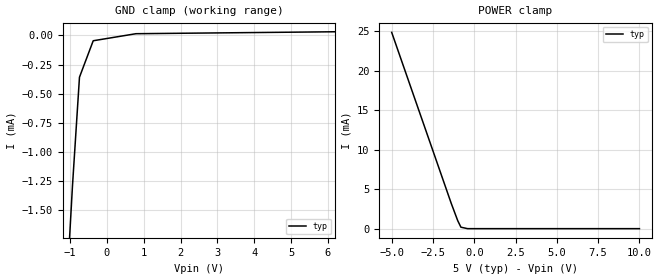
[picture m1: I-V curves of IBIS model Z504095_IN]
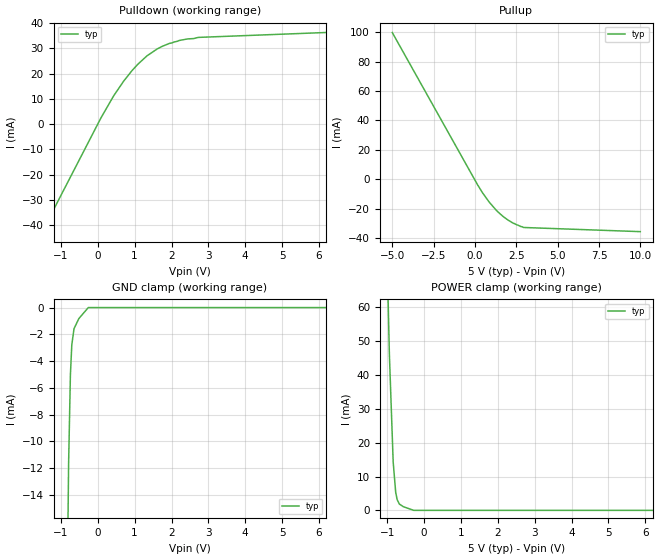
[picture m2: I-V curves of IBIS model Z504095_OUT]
| YOU ARE ONLY AUTHORIZED TO USE THIS SOFTWARE
| ACCORDING TO LICENSOR'S LICENSE RESTRICTIONS.
[IBIS Ver] 3.1
[File Name] mc54hc390j.ibs
[File Rev] 2.0
[Source] Measured and created by ICX Technology
[Date] Friday 7/14/00 9:08:06 AM
[Copyright]
| (C) COPYRIGHT 1993-2000
| MENTOR GRAPHICS CORPORATION
| ICX STANDARD LIBRARY, ICX PROJECT MODELING,
| ICX CUSTOM MODELING, ICX VENDOR MODEL
| ALL RIGHTS RESERVED.
| THE FOLLOWING ARE TRADEMARKS OR SERVICE MARKS OF
| MENTOR GRAPHICS CORPORATION:ICX (R), ICX STANDARD
| LIBRARY(R), ICX PROJECT MODELING(R), ICX CUSTOM
| MODELING(R), qualityIBIS(TM), MODELVIEWER(TM),
| AND MODELEDITOR(TM)
| ALL COPIES OF SOFTWARE, INCLUDING BUT NOT LIMITED TO
| ANY MODIFICATIONS, ENHANCEMENTS OR DERIVATIVE WORKS,
| MUST CONTAIN ALL MENTOR GRAPHICS CORPORATION'S
| NOTICES AND LEGENDS, INCLUDING THOSE EMBEDDED IN
| SOFTWARE AND THOSE AFFIXED TO SOFTWARE MEDIUM
| AND CONTAINER, AS RECEIVED FROM MENTOR GRAPHICS
| CORPORATION.
|  ZAP Model Builder 2.7
[Component] MC54HC390J
[Manufacturer] OnSemiconductor
[Package]
| variable   typ   min   max
R_pkg  .212ohms NA NA
L_pkg  4.758nH NA NA
C_pkg  1.944pF NA NA
[Pin] signal_name  model_name  R_pin  L_pin C_pin
1 _CLKA Z504095_IN .224 7.258n 2.683p
2 CLR Z504095_IN .216 5.258n 2.19p
3 QA Z504095_OUT .208 3.758n 1.697p
4 _CLKB Z504095_IN .2 2.758n 1.204p
5 QB Z504095_OUT .2 2.758n 1.204p
6 QC Z504095_OUT .208 3.758n 1.697p
7 QD Z504095_OUT .216 5.258n 2.19p
8 GND GND .224 7.258n 2.683p
9 QD Z504095_OUT .224 7.258n 2.683p
10 QC Z504095_OUT .216 5.258n 2.19p
11 QB Z504095_OUT .208 3.758n 1.697p
12 _CLKB Z504095_IN .2 2.758n 1.204p
13 QA Z504095_OUT .2 2.758n 1.204p
14 CLR Z504095_IN .208 3.758n 1.697p
15 _CLKA Z504095_IN .216 5.258n 2.19p
16 VCC POWER .224 7.258n 2.683p
| Models and submodels in the file (2): Z504095_IN (Input), Z504095_OUT (Output)
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| (C) COPYRIGHT 1993-2000
| MENTOR GRAPHICS CORPORATION
| ICX STANDARD LIBRARY, ICX PROJECT MODELING,
| ICX CUSTOM MODELING, ICX VENDOR MODEL
| ALL RIGHTS RESERVED.
| THE FOLLOWING ARE TRADEMARKS OR SERVICE MARKS OF
| MENTOR GRAPHICS CORPORATION:ICX (R), ICX STANDARD
| LIBRARY(R), ICX PROJECT MODELING(R), ICX CUSTOM
| MODELING(R), qualityIBIS(TM), MODELVIEWER(TM),
| AND MODELEDITOR(TM)
| ALL COPIES OF SOFTWARE, INCLUDING BUT NOT LIMITED TO
| ANY MODIFICATIONS, ENHANCEMENTS OR DERIVATIVE WORKS,
| MUST CONTAIN ALL MENTOR GRAPHICS CORPORATION'S
| NOTICES AND LEGENDS, INCLUDING THOSE EMBEDDED IN
| SOFTWARE AND THOSE AFFIXED TO SOFTWARE MEDIUM
| AND CONTAINER, AS RECEIVED FROM MENTOR GRAPHICS
| CORPORATION.
| Model Application Version 1.89 2/18/99.
[Model] Z504095_IN
Model_type Input
Vinl = 1.000V
Vinh = 3.500V
C_comp 4.000pF NA NA
| variable typ   min   max
[Voltage Range] 5.000V NA NA
[GND Clamp Reference] 0.000V NA NA
[POWER Clamp Reference] 5.000V NA NA
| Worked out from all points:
|   GND clamp passes 1 mA (typ) near -0.88 V on its own axis
|   POWER clamp passes 1 mA (typ) near -1.00 V on its own axis
[GND Clamp]
-5V       -25.17mA   NA         NA
-1.332V   -3.515mA   NA         NA
-936.2mV  -1.287mA   NA         NA
-746.5mV  -357.5uA   NA         NA
-373.3mV  -45.18uA   NA         NA
786.7mV   15.22uA    NA         NA
10V       43.64uA    NA         NA
[POWER Clamp]
-5V       24.88mA    NA         NA
-1.396V   3.213mA    NA         NA
-1.001V   1.009mA    NA         NA
-809mV    185.7uA    NA         NA
-404.5mV  0A         NA         NA
10V       0A         NA         NA
| (C) COPYRIGHT 1993-2000
| MENTOR GRAPHICS CORPORATION
| ICX STANDARD LIBRARY, ICX PROJECT MODELING,
| ICX CUSTOM MODELING, ICX VENDOR MODEL
| ALL RIGHTS RESERVED.
| THE FOLLOWING ARE TRADEMARKS OR SERVICE MARKS OF
| MENTOR GRAPHICS CORPORATION:ICX (R), ICX STANDARD
| LIBRARY(R), ICX PROJECT MODELING(R), ICX CUSTOM
| MODELING(R), qualityIBIS(TM), MODELVIEWER(TM),
| AND MODELEDITOR(TM)
| ALL COPIES OF SOFTWARE, INCLUDING BUT NOT LIMITED TO
| ANY MODIFICATIONS, ENHANCEMENTS OR DERIVATIVE WORKS,
| MUST CONTAIN ALL MENTOR GRAPHICS CORPORATION'S
| NOTICES AND LEGENDS, INCLUDING THOSE EMBEDDED IN
| SOFTWARE AND THOSE AFFIXED TO SOFTWARE MEDIUM
| AND CONTAINER, AS RECEIVED FROM MENTOR GRAPHICS
| CORPORATION.
| Model Application Version 1.89 2/18/99.
[Model] Z504095_OUT
Model_type Output
Vref=0.000V
Rref=500.0Mohms
Cref=50.00pF
Vmeas=2.500V
C_comp 8.000pF NA NA
| variable typ   min   max
[Voltage Range] 5.000V NA NA
[POWER Clamp Reference] 5.000V NA NA
[Pullup Reference] 5.000V NA NA
[Pulldown Reference] 0.000V NA NA
[GND Clamp Reference] 0.000V NA NA
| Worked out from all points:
|   slope of the pulldown table from 0 to 0.75 V, typ, clamps not added: 41.9 ohm
|   slope of the pullup table from 0 to 0.75 V, typ, clamps not added: 56.8 ohm
|   GND clamp passes 1 mA (typ) near -0.54 V on its own axis
[GND Clamp]
-5V       -1.101A    NA         NA
-791mV    -11.67mA   NA         NA
-742.1mV  -5.025mA   NA         NA
-704.2mV  -2.786mA   NA         NA
-644.5mV  -1.583mA   NA         NA
-513.2mV  -824.1uA   NA         NA
-256.6mV  0A         NA         NA
10V       0A         NA         NA
[Pulldown]
-5V       -141.3mA   NA         NA
83.85mV   2.428mA    NA         NA
435.9mV   11.34mA    NA         NA
707.7mV   17.16mA    NA         NA
1.079V    23.62mA    NA         NA
1.333V    27.04mA    NA         NA
1.611V    29.79mA    NA         NA
1.948V    32.01mA    NA         NA
2.207V    33.13mA    NA         NA
2.744V    34.37mA    NA         NA
10V       38.44mA    NA         NA
[Pullup]
-5V       99.74mA    NA         NA
161mV     -3.854mA   NA         NA
454mV     -9.164mA   NA         NA
864mV     -15.61mA   NA         NA
1.279V    -20.98mA   NA         NA
1.734V    -25.65mA   NA         NA
2.324V    -29.98mA   NA         NA
2.939V    -32.84mA   NA         NA
10V       -35.67mA   NA         NA
[POWER Clamp]
-5V       1.926A     NA         NA
-942mV    46.08mA    NA         NA
-839mV    14.27mA    NA         NA
-771mV    5.337mA    NA         NA
-732mV    3.209mA    NA         NA
-674mV    1.884mA    NA         NA
-561mV    1.072mA    NA         NA
-280.5mV  0A         NA         NA
10V       0A         NA         NA
[Ramp]
| variable typ min max
dV/dt_r 2.731/1.600n NA NA
dV/dt_f 2.731/1.251n NA NA
R_load = 500.0Ohms
